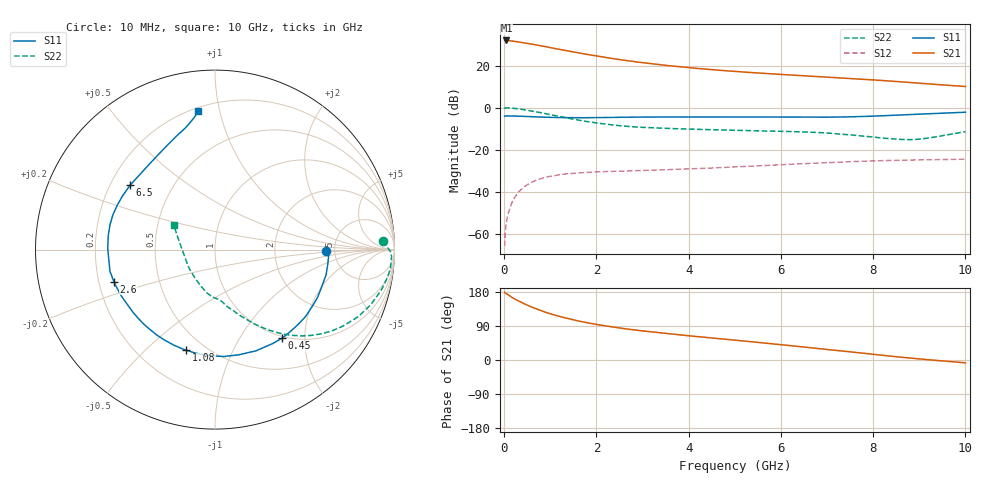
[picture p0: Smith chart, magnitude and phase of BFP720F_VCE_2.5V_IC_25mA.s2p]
! Infineon Technologies  Discrete & RF Semiconductors
! BFP720F
! VCE =  2.5 V,  IC =  25 mA
! Common Emitter S-Parameters:  Jan 2016
# GHz  S  MA  R  50
!  f  S11  S21  S12  S22
! GHz  MAG  ANG  MAG  ANG  MAG  ANG  MAG  ANG
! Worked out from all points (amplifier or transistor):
!   233 points, 10 MHz to 10 GHz, reference 50 ohm
!   highest |S21| = 32.0 dB at 50 MHz (marker M1)
!   |S21| within 3 dB of that: start of sweep to 908.4 MHz
!   unconditionally stable (mu >= 1): start of sweep to 15.89 MHz; 4.877 GHz to end of sweep
!   at 200 MHz: K = 0.12, MSG = 37.8 dB, |S12| = -43.9 dB
!   at 1.74 GHz: K = 0.50, MSG = 28.2 dB, |S12| = -30.9 dB
!   at 10 GHz: K = 1.18, MAG = 14.7 dB, |S12| = -24.6 dB
!   S11 on the Smith chart (normalised r, x): 10 MHz: 4.28, -0.12; 450 MHz: 0.97, -1.55; 1.08 GHz: 0.40, -0.67; 2.6 GHz: 0.26, -0.14; 6.5 GHz: 0.28, +0.31; 10 GHz: 0.22, +0.86
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0.01  0.6212 -0.8  39.18 179.0  0.0005 43.9  0.9374 3.0
0.02  0.6349 -2.2  39.71 176.9  0.0009 97.4  0.9779 -0.7
0.05  0.6342 -6.4  39.77 175.4  0.0019 88.0  0.9844 -2.2
0.1  0.6347 -12.8  39.67 171.0  0.0033 83.2  0.9843 -5.5
0.145  0.6304 -18.5  38.87 167.2  0.0046 81.5  0.9763 -8.3
0.24  0.6276 -29.9  37.64 160.3  0.0075 77.1  0.9534 -13.6
0.3  0.6271 -36.8  36.86 156.4  0.0093 74.0  0.934 -16.8
0.45  0.6189 -52.9  34.66 147.5  0.0132 67.4  0.8875 -24.1
0.6  0.6086 -67.9  32.58 139.6  0.0167 61.1  0.83 -30.9
0.78  0.5973 -83.7  29.9 131.1  0.0201 54.7  0.7629 -37.7
1.08  0.5828 -106.1  25.83 119.0  0.024 46.2  0.6535 -47.1
1.38  0.5758 -123.5  22.41 109.3  0.0266 40.1  0.5621 -54.4
1.68  0.5737 -137.2  19.53 101.2  0.0282 35.8  0.4885 -60.3
2.02  0.5775 -148.9  16.87 93.5  0.0294 32.6  0.4278 -65.6
2.6  0.5913 -162.4  13.45 82.8  0.0307 29.6  0.3623 -72.5
3.4  0.5954 -178.2  10.45 71.6  0.0328 29.0  0.3237 -78.0
4  0.5997 172.8  8.937 63.9  0.0346 29.2  0.3071 -80.1
5.1  0.5999 160.4  7.15 51.2  0.0391 29.5  0.286 -83.7
6.5  0.5936 142.7  5.736 34.2  0.0462 27.4  0.2638 -93.2
6.8  0.5914 138.0  5.477 30.5  0.0478 26.5  0.2544 -96.7
8.4  0.6538 111.4  4.268 9.9  0.0552 19.8  0.1806 -139.3
10  0.7761 96.9  3.179 -7.5  0.059 13.7  0.2678 149.1
